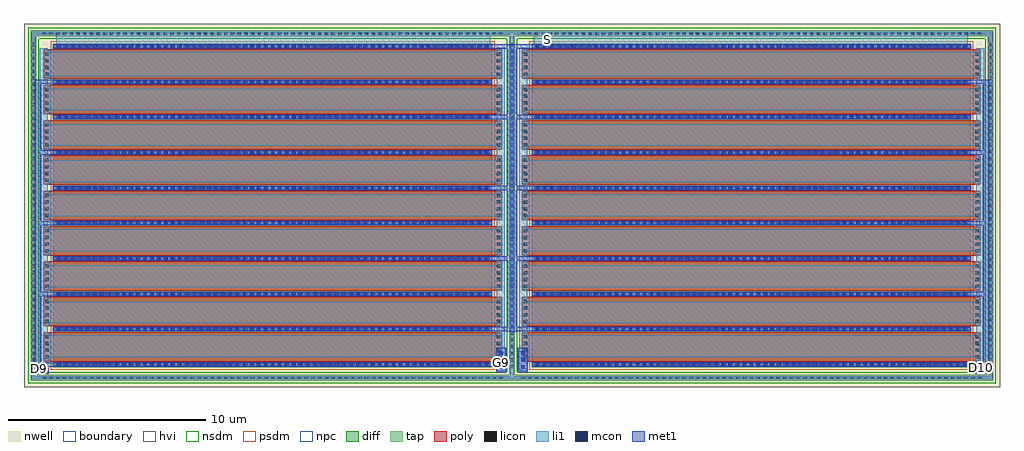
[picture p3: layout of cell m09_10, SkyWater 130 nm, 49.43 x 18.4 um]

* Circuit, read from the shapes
.subckt m09_10 D10 D9 G10 G9 S
XM1 S G9 D9 S sky130_fd_pr__pfet_g5v0d10v5 w=22.22 l=1.5 m=9
XM2 S G10 D10 S sky130_fd_pr__pfet_g5v0d10v5 w=22.22 l=1.5 m=9
.ends

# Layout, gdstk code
from math import pi, radians
import gdstk
lib = gdstk.Library(unit=1e-6, precision=1e-09)
def R(c, l, rs):  # rectangles x0, y0, x1, y1
    for r in rs: c.add(gdstk.rectangle(r[:2], r[2:], *l))
def A(c, l, x, y, w, h, nx, ny, dx, dy):  # array of equal rectangles
    R(c, l, [(x+i*dx, y+j*dy, x+i*dx+w, y+j*dy+h) for i in range(nx) for j in range(ny)])
nwell = (64, 20)
diff = (65, 20)
tap = (65, 44)
poly = (66, 20)
licon = (66, 44)
li1 = (67, 20)
mcon = (67, 44)
met1 = (68, 20)
hvi = (75, 20)
nsdm = (93, 44)
psdm = (94, 20)
npc = (95, 20)
boundary = (235, 4)

sky130_fd_pr__pfet_g5v0d = lib.new_cell('sky130_fd_pr__pfet_g5v0d10v5_FMWM9G')
R(sky130_fd_pr__pfet_g5v0d, nwell, [(-9.2,-12.595,9.2,12.595)])
R(sky130_fd_pr__pfet_g5v0d, diff, [(-8.2,-11.11,8.2,11.11)])
R(sky130_fd_pr__pfet_g5v0d, tap, [(-8.87,-12.265,8.87,-11.975), (-8.87,-11.975,-8.58,11.975), (8.58,-11.975,8.87,11.975), (-8.87,11.975,8.87,12.265)])
A(sky130_fd_pr__pfet_g5v0d, poly, -7.91, -11.595, 1.5, 23.19, 9, 1, 1.79, 0)
A(sky130_fd_pr__pfet_g5v0d, licon, -8.245, -12.205, 0.17, 0.17, 49, 2, 0.34, 24.24)
A(sky130_fd_pr__pfet_g5v0d, licon, -8.81, -11.645, 0.17, 0.17, 1, 69, 0, 0.34)
A(sky130_fd_pr__pfet_g5v0d, licon, 8.64, -11.645, 0.17, 0.17, 1, 69, 0, 0.34)
A(sky130_fd_pr__pfet_g5v0d, licon, -7.755, -11.515, 0.17, 0.17, 4, 2, 0.34, 22.86)
A(sky130_fd_pr__pfet_g5v0d, licon, -5.965, -11.515, 0.17, 0.17, 4, 2, 0.34, 22.86)
A(sky130_fd_pr__pfet_g5v0d, licon, -4.175, -11.515, 0.17, 0.17, 4, 2, 0.34, 22.86)
A(sky130_fd_pr__pfet_g5v0d, licon, -2.385, -11.515, 0.17, 0.17, 4, 2, 0.34, 22.86)
A(sky130_fd_pr__pfet_g5v0d, licon, -0.595, -11.515, 0.17, 0.17, 4, 2, 0.34, 22.86)
A(sky130_fd_pr__pfet_g5v0d, licon, 1.195, -11.515, 0.17, 0.17, 4, 2, 0.34, 22.86)
A(sky130_fd_pr__pfet_g5v0d, licon, 2.985, -11.515, 0.17, 0.17, 4, 2, 0.34, 22.86)
A(sky130_fd_pr__pfet_g5v0d, licon, 4.775, -11.515, 0.17, 0.17, 4, 2, 0.34, 22.86)
A(sky130_fd_pr__pfet_g5v0d, licon, 6.565, -11.515, 0.17, 0.17, 4, 2, 0.34, 22.86)
A(sky130_fd_pr__pfet_g5v0d, licon, -8.14, -10.965, 0.17, 0.17, 10, 65, 1.79, 0.34)
A(sky130_fd_pr__pfet_g5v0d, li1, -7.91, -11.4, 1.5, 0.055, 8, 1, 1.79, 0)
A(sky130_fd_pr__pfet_g5v0d, li1, -6.35, -11.13, 0.17, 22.26, 9, 1, 1.79, 0)
A(sky130_fd_pr__pfet_g5v0d, li1, -7.91, 11.345, 1.5, 0.015, 8, 1, 1.79, 0)
R(sky130_fd_pr__pfet_g5v0d, li1, [(-8.81,-12.205,8.81,-12.035), (-8.81,-12.035,-8.64,-10.97), (8.64,-12.035,8.81,12.035), (-7.965,-11.79,7.955,-11.4), (6.41,-11.4,7.955,-11.345), (-7.775,-11.345,-6.545,11.345), (-5.925,-11.345,-4.815,11.345), (-4.125,-11.345,-3.015,11.345), (-2.295,-11.345,-1.185,11.345), (-0.575,-11.345,0.535,11.345), (1.215,-11.345,2.325,11.345), (3.035,-11.345,4.145,11.345), (4.865,-11.345,5.975,11.345), (6.565,-11.345,7.675,11.345), (-8.14,-11.13,-7.97,-10.97), (-8.81,-10.97,-7.965,11.01), (-8.81,11.01,-8.64,12.035), (-8.14,11.01,-7.97,11.13), (6.41,11.345,7.91,11.35), (6.41,11.35,8.375,11.36), (-7.985,11.36,8.375,11.75), (7.275,11.75,8.375,11.79), (-8.81,12.035,8.81,12.205)])
A(sky130_fd_pr__pfet_g5v0d, mcon, -8.14, -10.885, 0.17, 0.17, 10, 61, 1.79, 0.36)
A(sky130_fd_pr__pfet_g5v0d, mcon, 7.38, 11.485, 0.17, 0.17, 3, 1, 0.36, 0)
A(sky130_fd_pr__pfet_g5v0d, met1, -6.38, -11.11, 0.23, 22.22, 5, 1, 3.58, 0)
R(sky130_fd_pr__pfet_g5v0d, met1, [(-6.365,-12.06,8.525,-11.71), (-6.365,-11.71,-6.155,-11.11), (-2.79,-11.71,-2.58,-11.11), (0.79,-11.71,1,-11.11), (4.375,-11.71,4.585,-11.11), (7.955,-11.71,8.525,-11.34), (7.955,-11.34,8.165,-11.11), (-8.17,-11.11,-7.94,10.85), (-4.59,-11.11,-4.36,10.96), (-1.01,-11.11,-0.78,10.91), (2.57,-11.11,2.8,11.88), (6.15,-11.11,6.38,11.01), (-8.175,10.85,-7.94,11.11), (-1.01,10.91,-0.775,11.11), (-4.595,10.96,-4.36,11.11), (6.145,11.01,6.38,11.11), (-8.175,11.11,-7.945,11.88), (-4.595,11.11,-4.365,11.88), (-1.005,11.11,-0.775,11.88), (6.145,11.11,6.375,11.88), (7.215,11.32,8.435,11.82), (-8.175,11.88,6.385,12.19)])
R(sky130_fd_pr__pfet_g5v0d, hvi, [(-9.2,-12.595,9.2,12.595)])
R(sky130_fd_pr__pfet_g5v0d, nsdm, [(-8.995,-12.39,8.995,-11.85), (-8.995,-11.85,-8.455,11.85), (8.455,-11.85,8.995,11.85), (-8.995,11.85,8.995,12.39)])
R(sky130_fd_pr__pfet_g5v0d, psdm, [(-8.325,-11.235,8.325,11.235)])
A(sky130_fd_pr__pfet_g5v0d, npc, -7.855, -11.615, 1.39, 0.37, 9, 2, 1.79, 22.86)
R(sky130_fd_pr__pfet_g5v0d, boundary, [(-8.725,-12.12,8.725,12.12)])

m09_10 = lib.new_cell('m09_10')
R(m09_10, li1, [(103.12,87.33,103.55,87.5)])
R(m09_10, met1, [(125.14,70.65,125.45,70.93), (77.51,70.66,77.78,70.96), (100.8,70.74,101.1,71.66), (101.93,70.78,102.18,71.6)])
m09_10.add(gdstk.Reference(sky130_fd_pr__pfet_g5v0d, (113.61,79.035), rotation=3*pi/2, x_reflection=True))
m09_10.add(gdstk.Reference(sky130_fd_pr__pfet_g5v0d, (89.37,79.035), rotation=3*pi/2))
m09_10.add(gdstk.Label('G9', (100.95,71.08), layer=68, texttype=5))
m09_10.add(gdstk.Label('G10', (102.02,71.3), layer=68, texttype=5))
m09_10.add(gdstk.Label('D9', (77.58,70.77), layer=68, texttype=5))
m09_10.add(gdstk.Label('D10', (125.29,70.81), layer=68, texttype=5))
m09_10.add(gdstk.Label('S', (103.3,87.425), layer=67, texttype=5))

lib.write_gds('m09_10.gds')
